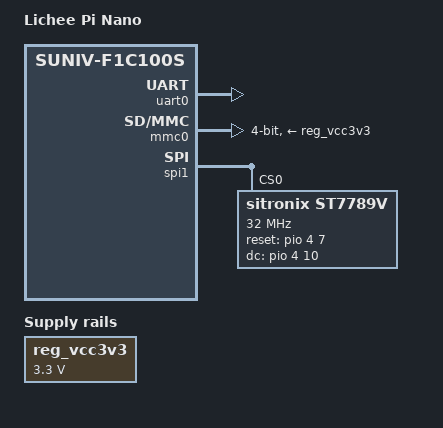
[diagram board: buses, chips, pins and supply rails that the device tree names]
// SPDX-License-Identifier: (GPL-2.0+ OR X11)
/*
 * Copyright 2018 Icenowy Zheng <icenowy@aosc.io>
 */

/dts-v1/;
#include "suniv-f1c100s.dtsi"

/ {
	model = "Lichee Pi Nano";
	compatible = "licheepi,licheepi-nano", "allwinner,suniv-f1c100s";

	aliases {
		serial0 = &uart0;
	};

	chosen {
		stdout-path = "serial0:115200n8";
	};

	reg_vcc3v3: vcc3v3 {
        compatible = "regulator-fixed";
        regulator-name = "vcc3v3";
        regulator-min-microvolt = <3300000>;
        regulator-max-microvolt = <3300000>;
    };
};

&uart0 {
	pinctrl-names = "default";
	pinctrl-0 = <&uart0_pe_pins>;
	status = "okay";
};

&mmc0 {
        vmmc-supply = <&reg_vcc3v3>;
        bus-width = <4>;
        broken-cd;
        status = "okay";
};

&spi1 {
    st7789v@0 {
        status = "okay";
        compatible = "sitronix,st7789v";
               reg = <0>;
               spi-max-frequency =<32000000>;        //SPI时钟32M
               rotate =<90>;                    //屏幕旋转90度
               spi-cpol;
               spi-cpha;
               rgb;                           //颜色格式RGB
               fps =<30>;                      //刷新30帧率
               buswidth =<8>;                   //总线宽度8
               reset-gpios=<&pio 4 7 0>;   //GPIOE7
               dc-gpios  =<&pio 4 10 0>;   //GPIOE10
               debug =<1>;                     //不开启调试
        };
}; 
